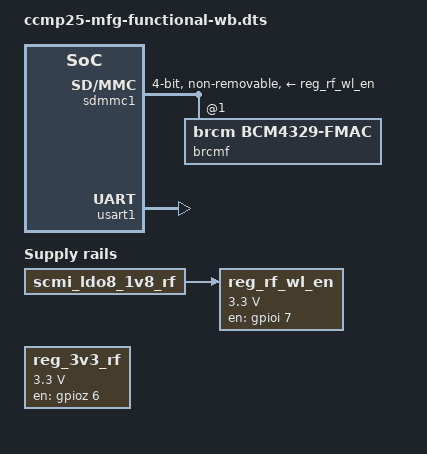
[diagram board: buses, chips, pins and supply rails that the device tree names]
// SPDX-License-Identifier: (GPL-2.0-or-later OR BSD-3-Clause)
/*
 * Copyright (C) 2024, Digi International Inc.
 *
 * Permission to use, copy, modify, and/or distribute this software for any
 * purpose with or without fee is hereby granted, provided that the above
 * copyright notice and this permission notice appear in all copies.
 * THE SOFTWARE IS PROVIDED "AS IS" AND THE AUTHOR DISCLAIMS ALL WARRANTIES
 * WITH REGARD TO THIS SOFTWARE INCLUDING ALL IMPLIED WARRANTIES OF
 * MERCHANTABILITY AND FITNESS. IN NO EVENT SHALL THE AUTHOR BE LIABLE FOR
 * ANY SPECIAL, DIRECT, INDIRECT, OR CONSEQUENTIAL DAMAGES OR ANY DAMAGES
 * WHATSOEVER RESULTING FROM LOSS OF USE, DATA OR PROFITS, WHETHER IN AN
 * ACTION OF CONTRACT, NEGLIGENCE OR OTHER TORTIOUS ACTION, ARISING OUT OF
 * OR IN CONNECTION WITH THE USE OR PERFORMANCE OF THIS SOFTWARE.
 */

/dts-v1/;

#include <dt-bindings/rtc/rtc-stm32.h>
/* Digi ConnectCore MP25 non-wireless FTB */
#include "ccmp25-mfg-functional.dts"

/ {
	aliases {
		serial1 = &usart1; /* Bluetooth */
	};

	bluetooth {
		/* U-Boot will fill in the MAC address here */
	};
	wireless {
		/* U-Boot will fill in the MAC address here */
	};

	/* Wifi/Bluetooth regulators */
	regulators {
		compatible = "simple-bus";
		#address-cells = <1>;
		#size-cells = <0>;

		reg_3v3_rf: regulator-som@1 {
			compatible = "regulator-fixed";
			reg = <1>;
			regulator-name = "3v3_rf";
			regulator-min-microvolt = <3300000>;
			regulator-max-microvolt = <3300000>;
			gpio = <&gpioz 6 GPIO_ACTIVE_HIGH>; /* 3V3_RF_EN */
			enable-active-high;
			startup-delay-us = <100000>;
			status = "okay";
		};

		/* Enable the WL regulator */
		reg_rf_wl_en: regulator-som@2 {
			compatible = "regulator-fixed";
			reg = <2>;
			regulator-name = "rf_wl_en";
			regulator-min-microvolt = <3300000>;
			regulator-max-microvolt = <3300000>;
			gpio = <&gpioi 7 GPIO_ACTIVE_HIGH>; /* WL_REG_EN */
			enable-active-high;
			status = "okay";
			startup-delay-us = <100000>; /* Minimum of 78 ms */
			vin-supply = <&scmi_ldo8_1v8_rf>;
		};
	};
};

/* Enable SDMMC1 (Wireless) */
&sdmmc1 {
	pinctrl-names = "default", "opendrain", "sleep";
	pinctrl-0 = <&sdmmc1_b4_pins_a>;
	pinctrl-1 = <&sdmmc1_b4_od_pins_a>;
	pinctrl-2 = <&sdmmc1_b4_sleep_pins_a>;
	non-removable;
	st,neg-edge;
	bus-width = <4>;
	vmmc-supply = <&reg_rf_wl_en>;
	vqmmc-supply = <&scmi_vddio1>;
	cap-sdio-irq;
	status = "okay";

	#address-cells = <1>;
	#size-cells = <0>;
	brcmf: bcrmf@1 {
		reg = <1>;
		compatible = "brcm,bcm4329-fmac";
	};
};

/* Enable USART1 (Bluetooth) */
&usart1 {
	pinctrl-names = "default", "idle", "sleep";
	pinctrl-0 = <&ccmp25_usart1_pins>;
	pinctrl-1 = <&ccmp25_usart1_idle_pins>;
	pinctrl-2 = <&ccmp25_usart1_sleep_pins>;
	uart-has-rtscts;
	status = "okay";

	cyw55512_bt: cyw55512-bt {
		shutdown-gpios = <&gpioz 5 GPIO_ACTIVE_HIGH>; /* BT_REG_EN */
		compatible = "brcm,bcm43438-bt";
		max-speed = <3000000>;
		vbat-supply = <&scmi_v3v3>;
		vddio-supply = <&scmi_ldo8_1v8_rf>;
		status = "disabled";
	};
};

/* Enable External 32kHz Low-Power Oscillator */
&rtc {
	st,lsco = <RTC_OUT2_RMP>;
	pinctrl-0 = <&ccmp25_rtc_out1_pins &ccmp25_rtc_out2_pins>;
	pinctrl-names = "default";
};
